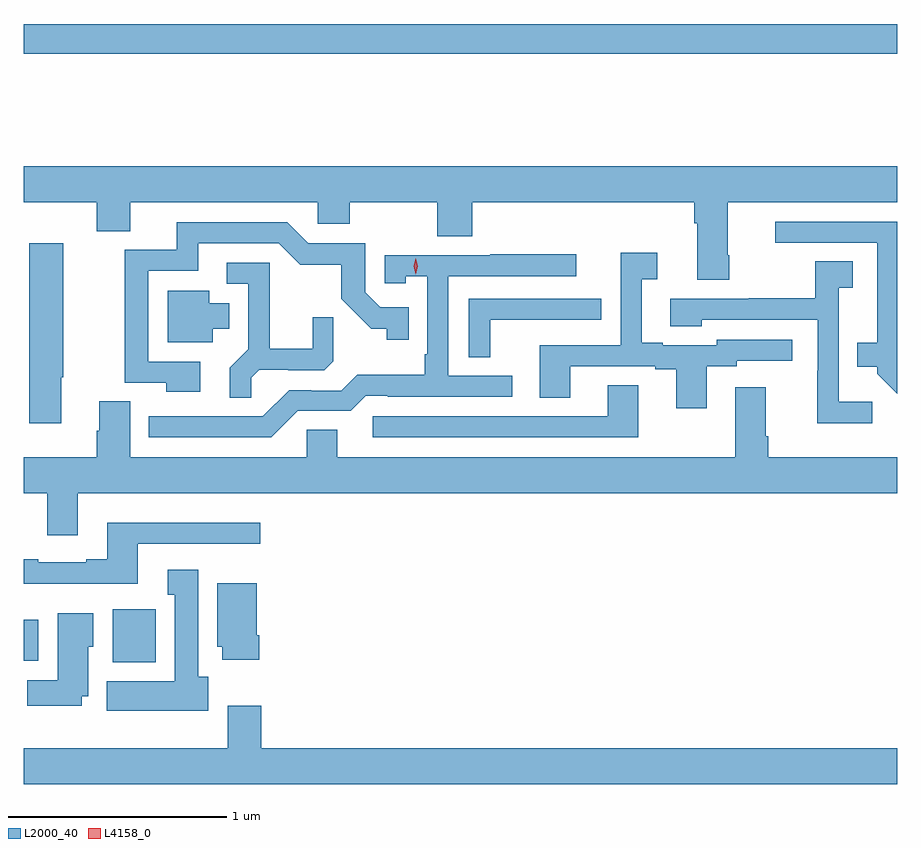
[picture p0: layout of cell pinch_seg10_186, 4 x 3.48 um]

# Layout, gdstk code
import gdstk
lib = gdstk.Library(unit=1e-6, precision=1e-09)
def R(c, l, rs):  # rectangles x0, y0, x1, y1
    for r in rs: c.add(gdstk.rectangle(r[:2], r[2:], *l))
def P(c, l, *ps):  # polygons
    for p in ps: c.add(gdstk.Polygon(p, *l))
L2000_40 = (2000, 40)
L4158_0 = (4158, 0)

pinch_seg10_186 = lib.new_cell('pinch_seg10_186')
R(pinch_seg10_186, L2000_40, [(743.375,1270.238,743.572,1270.48), (742.968,1270.244,743.035,1270.432), (742.968,1273.024,746.968,1273.16)])
P(pinch_seg10_186, L2000_40, [(742.968,1272.344),(743.303,1272.344),(743.303,1272.211),(743.455,1272.211),(743.455,1272.344),(744.315,1272.344),(744.315,1272.246),(744.462,1272.246),(744.462,1272.344),(744.862,1272.344),(744.862,1272.187),(745.022,1272.187),(745.022,1272.344),(746.039,1272.344),(746.039,1272.248),(746.051,1272.248),(746.051,1271.988),(746.199,1271.988),(746.199,1272.1),(746.191,1272.1),(746.191,1272.344),(746.968,1272.344),(746.968,1272.508),(742.968,1272.508)],
  [(746.968,1272.255),(746.409,1272.255),(746.409,1272.159),(746.876,1272.159),(746.876,1271.701),(746.785,1271.701),(746.785,1271.591),(746.877,1271.591),(746.877,1271.559),(746.968,1271.468)],
  [(743.776,1271.613),(743.538,1271.613),(743.538,1272.03),(743.767,1272.03),(743.767,1272.156),(744.135,1272.156),(744.234,1272.058),(744.423,1272.058),(744.423,1271.902),(744.56,1271.765),(744.63,1271.765),(744.63,1271.715),(744.731,1271.715),(744.731,1271.862),(744.6,1271.862),(744.531,1271.931),(744.531,1272.156),(744.27,1272.156),(744.174,1272.252),(743.669,1272.252),(743.669,1272.126),(743.43,1272.126),(743.43,1271.517),(743.62,1271.517),(743.62,1271.477),(743.776,1271.477)],
  [(743.14,1271.543),(743.148,1271.543),(743.148,1272.157),(742.994,1272.157),(742.994,1271.331),(743.14,1271.331)],
  [(746.095,1271.592),(746.232,1271.592),(746.232,1271.619),(746.488,1271.619),(746.488,1271.715),(746.142,1271.715),(746.142,1271.688),(745.894,1271.688),(745.894,1271.701),(745.798,1271.701),(745.798,1271.992),(745.87,1271.992),(745.87,1272.112),(745.701,1272.112),(745.701,1271.688),(745.331,1271.688),(745.331,1271.449),(745.471,1271.449),(745.471,1271.592),(745.859,1271.592),(745.859,1271.58),(745.955,1271.58),(745.955,1271.4),(746.095,1271.4)],
  [(744.222,1271.388),(744.465,1271.388),(744.534,1271.457),(744.634,1271.457),(744.634,1271.454),(745.204,1271.454),(745.204,1271.55),(744.912,1271.55),(744.912,1272.006),(745.498,1272.006),(745.498,1272.105),(745.105,1272.105),(745.105,1272.102),(744.621,1272.102),(744.621,1271.973),(744.717,1271.973),(744.717,1272.005),(744.816,1272.005),(744.816,1271.647),(744.804,1271.647),(744.804,1271.554),(744.496,1271.554),(744.423,1271.481),(744.284,1271.481),(744.284,1271.484),(744.183,1271.484),(744.063,1271.364),(743.54,1271.364),(743.54,1271.268),(744.102,1271.268)],
  [(746.854,1271.431),(746.7,1271.431),(746.7,1271.953),(746.764,1271.953),(746.764,1272.074),(746.592,1272.074),(746.592,1271.904),(746.287,1271.904),(746.287,1271.901),(745.929,1271.901),(745.929,1271.777),(746.073,1271.777),(746.073,1271.805),(746.604,1271.805),(746.604,1271.573),(746.602,1271.573),(746.602,1271.333),(746.854,1271.333)],
  [(744.009,1271.54),(744.046,1271.577),(744.18,1271.577),(744.18,1271.574),(744.345,1271.574),(744.386,1271.615),(744.386,1271.817),(744.292,1271.817),(744.292,1271.674),(744.095,1271.674),(744.095,1272.066),(743.898,1272.066),(743.898,1271.97),(743.997,1271.97),(743.997,1271.671),(743.911,1271.585),(743.911,1271.449),(744.009,1271.449)],
  [(743.833,1271.765),(743.908,1271.765),(743.908,1271.881),(743.818,1271.881),(743.818,1271.938),(743.627,1271.938),(743.627,1271.702),(743.833,1271.702)],
  [(745.104,1271.805),(745.499,1271.805),(745.499,1271.806),(745.612,1271.806),(745.612,1271.901),(745.005,1271.901),(745.005,1271.635),(745.104,1271.635)],
  [(745.783,1271.507),(745.643,1271.507),(745.643,1271.364),(744.567,1271.364),(744.567,1271.268),(745.783,1271.268)],
  [(743.215,1271.012),(746.968,1271.012),(746.968,1271.176),(746.378,1271.176),(746.378,1271.272),(746.365,1271.272),(746.365,1271.497),(746.225,1271.497),(746.225,1271.176),(744.403,1271.176),(744.403,1271.303),(744.264,1271.303),(744.264,1271.176),(743.455,1271.176),(743.455,1271.432),(743.315,1271.432),(743.315,1271.298),(743.303,1271.298),(743.303,1271.176),(742.968,1271.176),(742.968,1271.012),(743.075,1271.012),(743.075,1270.818),(743.215,1270.818)],
  [(743.491,1270.779),(744.052,1270.779),(744.052,1270.876),(743.351,1270.876),(743.351,1270.708),(743.255,1270.708),(743.255,1270.695),(743.035,1270.695),(743.035,1270.708),(742.968,1270.708),(742.968,1270.598),(743.491,1270.598)],
  [(743.812,1270.17),(743.767,1270.17),(743.767,1270.66),(743.627,1270.66),(743.627,1270.547),(743.66,1270.547),(743.66,1270.15),(743.348,1270.15),(743.348,1270.016),(743.812,1270.016)],
  [(744.047,1270.36),(744.034,1270.36),(744.034,1270.6),(743.855,1270.6),(743.855,1270.308),(743.876,1270.308),(743.876,1270.248),(744.047,1270.248)],
  [(743.233,1270.082),(743.263,1270.082),(743.263,1270.308),(743.287,1270.308),(743.287,1270.462),(743.123,1270.462),(743.123,1270.156),(742.984,1270.156),(742.984,1270.038),(743.233,1270.038)],
  [(746.968,1269.844),(744.056,1269.844),(744.056,1270.039),(743.903,1270.039),(743.903,1269.844),(742.968,1269.844),(742.968,1269.68),(746.968,1269.68)])
P(pinch_seg10_186, L4158_0, [(744.763,1272.015),(744.763,1272.015),(744.753,1272.05),(744.762,1272.087),(744.762,1272.087),(744.762,1272.087),(744.773,1272.051),(744.764,1272.015)])

lib.write_gds('pinch_seg10_186.gds')
